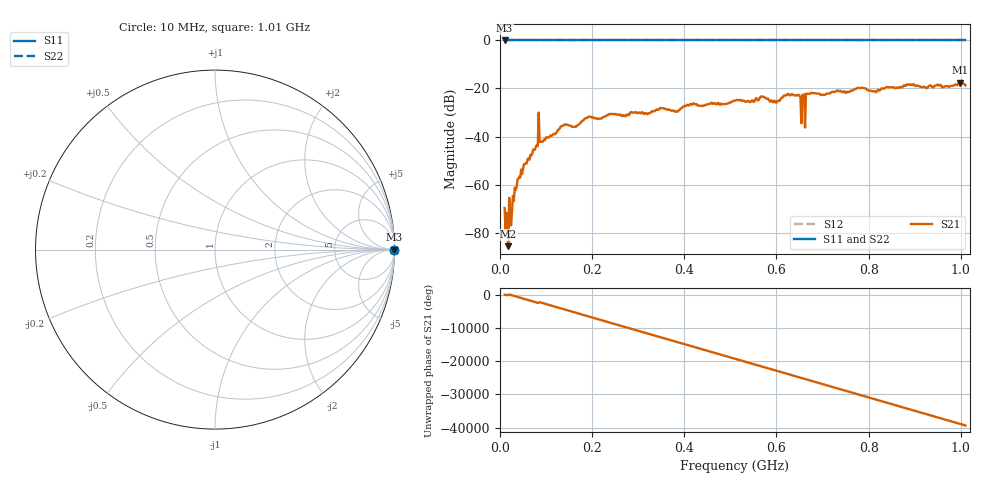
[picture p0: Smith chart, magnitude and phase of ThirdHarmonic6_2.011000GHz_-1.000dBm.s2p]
! 8/17/2025 12:09:09 AM
! C:\ANRITSUVNA\TEMP\TEMP.S2P
! CHANNEL.1
! TR.MEASUREMENT
! RAW.DATA
! RF.CORRECTION.OFF
! AVERAGING.OFF
! IF.BANDWIDTH: 5KHZ
! SWEEPTYPE:  FREQ.SWEEP(Linear)
! Reference Plane Port Info
! PORT:  PORT1  PORT2
! DISTANCE:  0  m  0  m
! TIME:  0  s  0  s
! PHASE.OFFSET:  0  deg.  0  deg.
! LOSS:  0  dB  0  dB
! REF.LOSS:  0  dB  0  dB
! REF.FREQ:  0  Hz  0  Hz
! Power Info
! POWER:  -20  dBm  -20  dBm
! EFF.POWER:  -20  dBm  -20  dBm
! SOURCE.ATTEN:  0  dB  0  dB
! TEST.ATTEN:  0  dB  0  dB
# GHZ S RI R 50.0
! FREQ.GHZ  S11RE  S11IM  S21RE  S21IM  S12RE  S12IM  S22RE  S22IM
!; PortSelection: Port_12
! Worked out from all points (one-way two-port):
!   501 points, 10 MHz to 1.01 GHz, reference 50 ohm
!   highest |S21| = -17.55 dB at 998 MHz (marker M1); lowest = -85.6 dB at 18 MHz (marker M2)
!   lowest |S11| = 0.0 dB at 10 MHz (marker M3)
!   |S11| at or under -10 dB: nowhere
!   |S22| runs from 0.0 to 0.0 dB; largest |S21 - S12| = 1.1
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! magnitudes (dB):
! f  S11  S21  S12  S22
! 10 MHz  0.0  -69.7  0.0  0.0
! 14 MHz  0.0  -71.7  0.0  0.0
! 18 MHz  0.0  -85.6  0.0  0.0
! 26 MHz  0.0  -71.5  0.0  0.0
! 32 MHz  0.0  -61.3  0.0  0.0
! 42 MHz  0.0  -56.6  0.0  0.0
! 78 MHz  0.0  -44.1  0.0  0.0
! 82 MHz  0.0  -44.0  0.0  0.0
! 90 MHz  0.0  -42.0  0.0  0.0
! 178 MHz  0.0  -33.5  0.0  0.0
! 344 MHz  0.0  -28.9  0.0  0.0
! 510 MHz  0.0  -25.1  0.0  0.0
! 570 MHz  0.0  -23.3  0.0  0.0
! 596 MHz  0.0  -25.1  0.0  0.0
! 636 MHz  0.0  -22.6  0.0  0.0
! 648 MHz  0.0  -22.6  0.0  0.0
! 658 MHz  0.0  -22.8  0.0  0.0
! 668 MHz  0.0  -22.1  0.0  0.0
! 678 MHz  0.0  -21.9  0.0  0.0
! 844 MHz  0.0  -19.5  0.0  0.0
! 998 MHz  0.0  -17.5  0.0  0.0
! 1.01 GHz  0.0  -18.7  0.0  0.0
